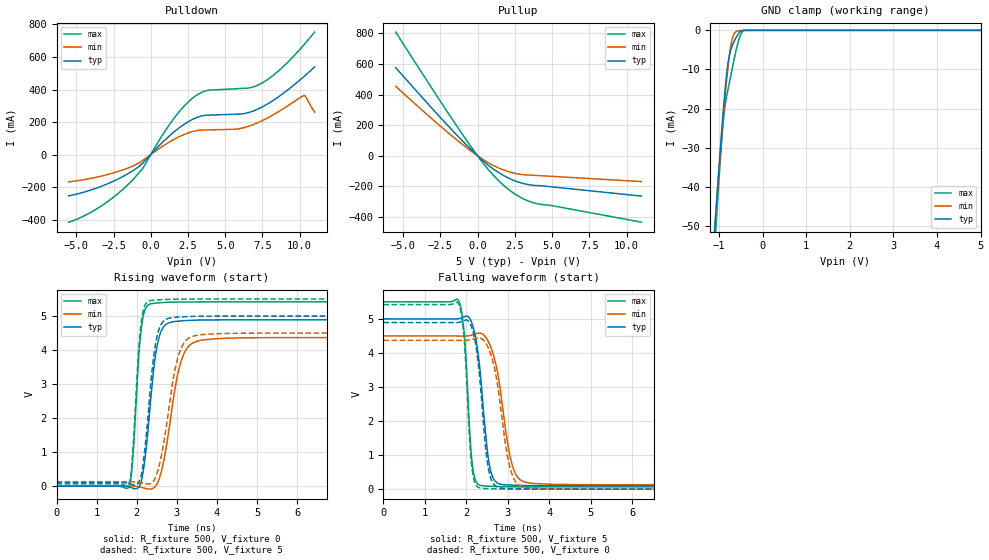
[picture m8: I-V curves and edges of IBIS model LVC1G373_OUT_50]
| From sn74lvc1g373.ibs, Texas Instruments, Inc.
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[Model]   LVC1G373_OUT_50
Model_type  3-state
Enable   Active-Low
Vref =   0
Rref =   500
Cref =   50p
Vmeas =   2.5
| variable   typ   min   max
C_comp   4.99pF   4.17pF   6.36pF
| C_pullup   7.94pF   4.95pF   9.64pF
| C_pulldown   7.39pF   5.76pF   10.46pF
| C_tri-state   4.99pF   4.17pF   6.36pF
[Temperature Range]   40   100   -40
| Ambient temperature   25   85   -40
[Voltage range]   5   4.5   5.5
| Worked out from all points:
|   slope of the pulldown table from 0 to 0.75 V, typ, clamps not added: 10.5 ohm
|   slope of the pullup table from 0 to 0.75 V, typ, clamps not added: 11.8 ohm
|   GND clamp passes 1 mA (typ) near -0.56 V on its own axis
|   rising waveform, R_fixture 500, V_fixture 0: 20-80 % time 254ps typ, 370ps min, 170ps max; typ from 0 V to 4.89 V
|   falling waveform, R_fixture 500, V_fixture 5: 20-80 % time 233ps typ, 327ps min, 152ps max; typ from 5 V to 0.098 V
|   rising waveform, R_fixture 500, V_fixture 5: 20-80 % time 246ps typ, 361ps min, 166ps max; typ from 0.098 V to 5 V
|   falling waveform, R_fixture 500, V_fixture 0: 20-80 % time 222ps typ, 319ps min, 147ps max; typ from 4.89 V to 0 V
[GND Clamp]
| LVC1G373_OUT_50
|   Voltage   I(typ)   I(min)   I(max)
-5.5V     -897.8mA   -832.4mA   -1.016A
-1.115V   -53.65mA   -53.2mA    -58.9mA
-1.08V    -47.86mA   -47.85mA   -52.38mA
-1.05V    -42.97mA   -43.33mA   -46.9mA
-915mV    -22.35mA   -24.01mA   -24.95mA
-870mV    -16.36mA   -18.13mA   -20.06mA
-810mV    -9.836mA   -11.06mA   -16.02mA
-710mV    -4.33mA    -2.831mA   -10.59mA
-595mV    -1.595mA   -242.2uA   -4.449mA
-505mV    -252.5uA   -82.42uA   -1.167mA
-430mV    -5.556uA   -35.43uA   -28.28uA
5V        28.94pA    122nA      715.4pA
[Pulldown]
| LVC1G373_OUT_50
|   Voltage   I(typ)   I(min)   I(max)
-5.5V     -253.9mA   -167.9mA   -416mA
-3.405V   -198.2mA   -134.3mA   -321.3mA
-1.385V   -110.1mA   -77.76mA   -172.1mA
-505mV    -50.36mA   -34.24mA   -80.09mA
1.515V    135.7mA    90.96mA    217.2mA
2.88V     219.5mA    143.2mA    352mA
3.795V    242.1mA    151.3mA    394.3mA
5.85V     248.6mA    158mA      405.4mA
7.4V      289mA      204.9mA    436.3mA
8.705V    363.4mA    271mA      524.8mA
10.28V    479.6mA    362.7mA    674.8mA
11V       538.2mA    260.8mA    753.3mA
[Pullup]
| LVC1G373_OUT_50
|   Voltage   I(typ)   I(min)   I(max)
-5.5V     577mA      454.6mA    809mA
-2.245V   224mA      172.9mA    318.8mA
-15mV     1.399mA    1.048mA    2.031mA
515mV     -44.85mA   -33.24mA   -65.78mA
1.045V    -84.88mA   -62.15mA   -125.6mA
1.575V    -118.7mA   -85.68mA   -177.4mA
2.1V      -146.1mA   -103.7mA   -220.9mA
3.005V    -178.9mA   -122.3mA   -277.5mA
3.91V     -193.7mA   -127.7mA   -310.7mA
4.725V    -200mA     -132.3mA   -320.7mA
11V       -262.8mA   -168mA     -433.4mA
[Ramp]
| LVC1G373_OUT_50
| variable   typ   min   max
dV/dt_r   2.98/2.66E-10   2.67/3.83E-10   3.29/1.76E-10
dV/dt_f   2.99/2.44E-10   2.67/3.43E-10   3.31/1.58E-10
R_load = 500
[Rising Waveform]
| LVC1G373_OUT_50
R_fixture =   500
C_fixture =   0
L_fixture =   0
V_fixture =   0
V_fixture_min = 0
V_fixture_max = 0
|   Time   V(typ)   V(min)   V(max)
0s        198.4pV    4.048nV    1.782nV
1.8ns     -21.56mV   4.832mV    -17.48mV
1.895ns   -55.98mV   2.002mV    731.4mV
2.115ns   153mV      -37.06mV   4.646V
2.35ns    2.576V     -84.07mV   5.36V
2.49ns    4.006V     35.46mV    5.382V
2.66ns    4.666V     670.9mV    5.399V
3.11ns    4.859V     3.685V     5.414V
3.635ns   4.884V     4.294V     5.416V
24.99ns   4.89V      4.367V     5.417V
[Falling Waveform]
| LVC1G373_OUT_50
R_fixture =   500
C_fixture =   0
L_fixture =   0
V_fixture =   5
V_fixture_min = 4.5
V_fixture_max = 5.5
|   Time   V(typ)   V(min)   V(max)
0s        5V         4.5V       5.5V
1.825ns   5.007V     4.497V     5.513V
1.95ns    5.059V     4.496V     4.55V
2.145ns   4.837V     4.529V     722.6mV
2.355ns   3.176V     4.574V     106mV
2.515ns   1.049V     4.37V      88.98mV
2.645ns   333mV      3.977V     81.98mV
3.095ns   119mV      759.3mV    70.89mV
3.495ns   105.7mV    184.7mV    68.71mV
24.99ns   98.28mV    129.8mV    67.62mV
[Rising Waveform]
| LVC1G373_OUT_50
R_fixture =   500
C_fixture =   0
L_fixture =   0
V_fixture =   5
V_fixture_min = 4.5
V_fixture_max = 5.5
|   Time   V(typ)   V(min)   V(max)
0s        98.26mV    129.8mV    67.61mV
1.79ns    80.33mV    134mV      46.12mV
1.885ns   51.34mV    132.2mV    755.2mV
2.1ns     256.4mV    99.16mV    4.703V
2.34ns    2.918V     77.8mV     5.454V
2.47ns    4.193V     269mV      5.469V
2.615ns   4.77V      899.2mV    5.482V
3.03ns    4.971V     3.791V     5.497V
3.48ns    4.993V     4.431V     5.499V
24.99ns   5V         4.5V       5.5V
[Falling Waveform]
| LVC1G373_OUT_50
R_fixture =   500
C_fixture =   0
L_fixture =   0
V_fixture =   0
V_fixture_min = 0
V_fixture_max = 0
|   Time   V(typ)   V(min)   V(max)
0s        4.893V     4.372V     5.419V
1.82ns    4.899V     4.37V      5.429V
1.945ns   4.945V     4.368V     4.462V
2.135ns   4.728V     4.397V     631.2mV
2.345ns   2.96V      4.433V     29.37mV
2.48ns    1.044V     4.267V     17.62mV
2.61ns    257.1mV    3.884V     12.95mV
3.05ns    16.62mV    645.8mV    3.047mV
3.42ns    6.578mV    49.89mV    1.091mV
24.99ns   11.44uV    18.16uV    7.566uV
